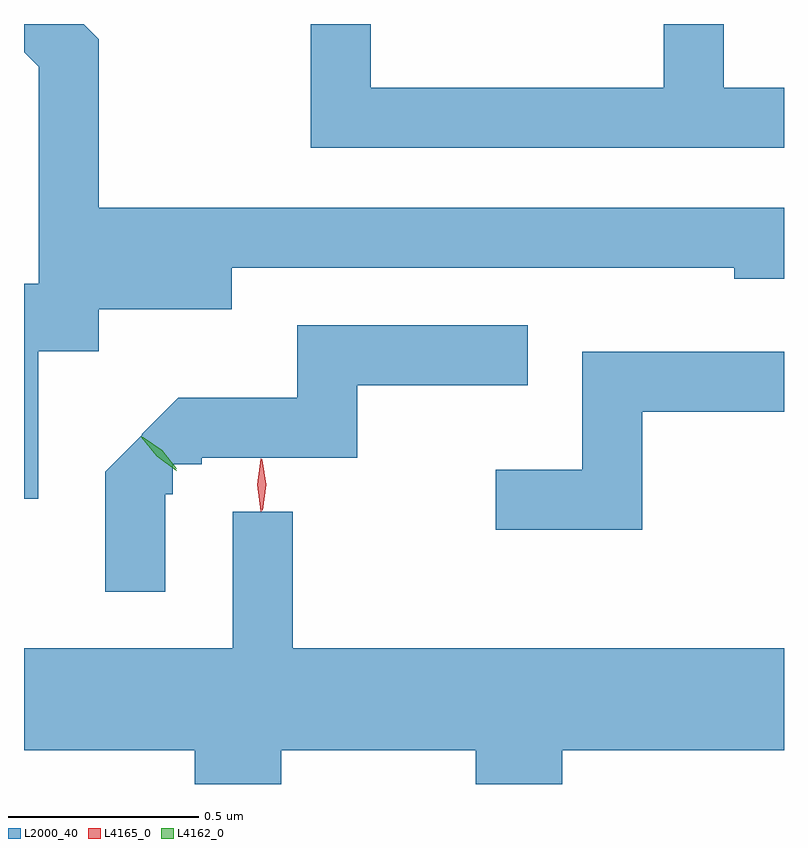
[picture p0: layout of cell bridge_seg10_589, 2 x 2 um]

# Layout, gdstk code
import gdstk
lib = gdstk.Library(unit=1e-6, precision=1e-09)
def R(c, l, rs):  # rectangles x0, y0, x1, y1
    for r in rs: c.add(gdstk.rectangle(r[:2], r[2:], *l))
def P(c, l, *ps):  # polygons
    for p in ps: c.add(gdstk.Polygon(p, *l))
L2000_40 = (2000, 40)
L4162_0 = (4162, 0)
L4165_0 = (4165, 0)

bridge_seg10_589 = lib.new_cell('bridge_seg10_589')
R(bridge_seg10_589, L2000_40, [(832.571,2166.886,832.839,2166.887)])
P(bridge_seg10_589, L2000_40, [(833.412,2166.719),(833.254,2166.719),(833.254,2166.887),(833.096,2166.887),(833.096,2166.719),(832.324,2166.719),(832.324,2166.887),(832.166,2166.887),(832.166,2166.561),(833.412,2166.561)],
  [(831.449,2166.026),(831.609,2166.026),(831.609,2166.136),(831.959,2166.136),(831.959,2166.246),(833.281,2166.246),(833.281,2166.216),(833.412,2166.216),(833.412,2166.404),(831.609,2166.404),(831.609,2166.847),(831.569,2166.887),(831.412,2166.887),(831.412,2166.813),(831.451,2166.774),(831.451,2166.204),(831.412,2166.204),(831.412,2165.638),(831.449,2165.638)],
  [(831.784,2165.65),(831.803,2165.65),(831.803,2165.728),(831.88,2165.728),(831.88,2165.746),(832.289,2165.746),(832.289,2165.936),(832.738,2165.936),(832.738,2166.094),(832.131,2166.094),(832.131,2165.904),(831.818,2165.904),(831.722,2165.808),(831.724,2165.807),(831.626,2165.709),(831.626,2165.393),(831.784,2165.393)],
  [(833.039,2165.866),(833.412,2165.866),(833.412,2166.024),(832.881,2166.024),(832.881,2165.714),(832.653,2165.714),(832.653,2165.556),(833.039,2165.556)],
  [(832.089,2164.976),(832.601,2164.976),(832.601,2164.887),(832.829,2164.887),(832.829,2164.976),(833.412,2164.976),(833.412,2165.244),(832.119,2165.244),(832.119,2165.603),(831.961,2165.603),(831.961,2165.244),(831.412,2165.244),(831.412,2164.976),(831.861,2164.976),(831.861,2164.887),(832.089,2164.887)])
P(bridge_seg10_589, L4162_0, [(831.813,2165.716),(831.763,2165.751),(831.725,2165.799),(831.725,2165.8),(831.726,2165.8),(831.776,2165.765),(831.814,2165.717),(831.814,2165.716)],
  [(831.813,2165.711),(831.761,2165.749),(831.721,2165.8),(831.721,2165.801),(831.722,2165.801),(831.774,2165.763),(831.814,2165.712),(831.814,2165.711)])
P(bridge_seg10_589, L4165_0, [(832.036,2165.604),(832.035,2165.605),(832.026,2165.674),(832.035,2165.743),(832.036,2165.743),(832.036,2165.743),(832.046,2165.674),(832.036,2165.605)],
  [(832.039,2165.608),(832.039,2165.608),(832.029,2165.674),(832.038,2165.74),(832.039,2165.741),(832.039,2165.74),(832.049,2165.674),(832.04,2165.608)])

lib.write_gds('bridge_seg10_589.gds')
